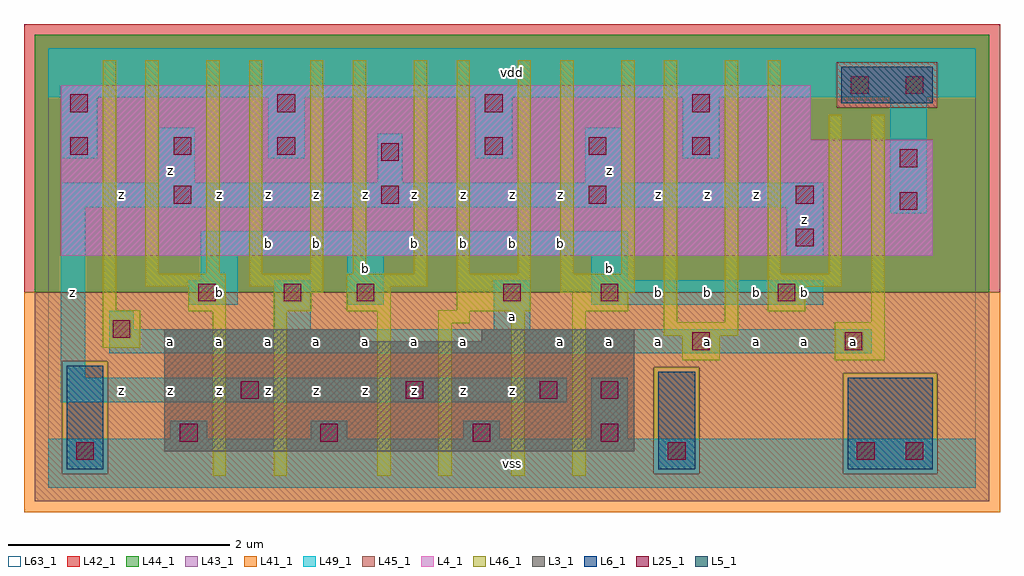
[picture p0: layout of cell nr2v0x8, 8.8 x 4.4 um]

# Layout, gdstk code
import gdstk
lib = gdstk.Library(unit=1e-6, precision=1e-09)
def R(c, l, rs):  # rectangles x0, y0, x1, y1
    for r in rs: c.add(gdstk.rectangle(r[:2], r[2:], *l))
def A(c, l, x, y, w, h, nx, ny, dx, dy):  # array of equal rectangles
    R(c, l, [(x+i*dx, y+j*dy, x+i*dx+w, y+j*dy+h) for i in range(nx) for j in range(ny)])
L3_1 = (3, 1)
L4_1 = (4, 1)
L5_1 = (5, 1)
L6_1 = (6, 1)
L25_1 = (25, 1)
L41_1 = (41, 1)
L42_1 = (42, 1)
L43_1 = (43, 1)
L44_1 = (44, 1)
L45_1 = (45, 1)
L46_1 = (46, 1)
L49_1 = (49, 1)
L63_1 = (63, 1)

nr2v0x8 = lib.new_cell('nr2v0x8')
R(nr2v0x8, L3_1, [(1.045,0.33,5.28,1.32), (1.045,1.32,2.805,1.43), (3.905,1.32,5.28,1.43)])
R(nr2v0x8, L4_1, [(0.11,2.09,7.975,3.135), (0.11,3.135,6.875,3.63)])
R(nr2v0x8, L5_1, [(7.15,3.465,7.975,3.795)])
R(nr2v0x8, L6_1, [(0.165,0.165,0.495,1.1), (5.5,0.165,5.83,1.045), (7.205,0.165,7.975,0.99)])
A(nr2v0x8, L25_1, 1.13, 2.56, 0.16, 0.16, 4, 1, 1.87, 0)
A(nr2v0x8, L25_1, 0.195, 3, 0.16, 0.16, 3, 1, 0.935, 0)
A(nr2v0x8, L25_1, 3.935, 3, 0.16, 0.16, 3, 1, 0.935, 0)
A(nr2v0x8, L25_1, 0.195, 3.385, 0.16, 0.16, 4, 1, 1.87, 0)
R(nr2v0x8, L25_1, [(0.25,0.25,0.41,0.41), (5.585,0.25,5.745,0.41), (7.29,0.25,7.45,0.41), (7.73,0.25,7.89,0.41), (1.185,0.415,1.345,0.575), (2.45,0.415,2.61,0.575), (3.825,0.415,3.985,0.575), (4.98,0.415,5.14,0.575), (1.735,0.8,1.895,0.96), (3.22,0.8,3.38,0.96), (4.43,0.8,4.59,0.96), (4.98,0.8,5.14,0.96), (5.805,1.24,5.965,1.4), (7.18,1.24,7.34,1.4), (0.58,1.35,0.74,1.51), (1.35,1.68,1.51,1.84), (2.12,1.68,2.28,1.84), (2.78,1.68,2.94,1.84), (4.1,1.68,4.26,1.84), (4.98,1.68,5.14,1.84), (6.575,1.68,6.735,1.84), (6.74,2.175,6.9,2.335), (7.675,2.505,7.835,2.665), (7.675,2.89,7.835,3.05), (3,2.945,3.16,3.105), (7.235,3.55,7.395,3.71), (7.73,3.55,7.89,3.71)])
R(nr2v0x8, L41_1, [(-0.22,-0.22,8.58,1.76)])
R(nr2v0x8, L42_1, [(-0.22,1.76,8.58,4.18)])
R(nr2v0x8, L43_1, [(0.165,0.165,0.495,1.1), (5.5,0.165,5.83,1.045), (7.205,0.165,7.975,0.99), (1.045,0.33,5.28,1.32), (1.045,1.32,2.805,1.43), (3.905,1.32,5.28,1.43), (0.11,2.09,7.975,3.135), (0.11,3.135,6.875,3.63), (7.15,3.465,7.975,3.795)])
R(nr2v0x8, L44_1, [(0.125,0.125,0.535,1.14), (5.46,0.125,5.87,1.085), (7.165,0.125,8.015,1.03), (-0.125,1.76,8.485,3.425), (-0.125,3.425,7.11,3.835), (8.015,3.425,8.485,3.835), (-0.125,3.835,8.485,4.085)])
R(nr2v0x8, L45_1, [(-0.125,-0.125,8.485,0.125), (-0.125,0.125,0.125,1.14), (0.535,0.125,5.46,1.085), (5.87,0.125,7.165,1.03), (8.015,0.125,8.485,1.03), (5.87,1.03,8.485,1.085), (0.535,1.085,8.485,1.14), (-0.125,1.14,8.485,1.76), (7.11,3.425,8.015,3.835)])
R(nr2v0x8, L46_1, [(1.48,0.105,1.6,1.59), (2.03,0.105,2.15,1.59), (2.965,0.105,3.085,1.59), (3.515,0.105,3.635,1.48), (4.175,0.105,4.295,1.59), (4.725,0.105,4.845,1.59), (5.715,1.15,6.055,1.37), (7.09,1.15,7.54,1.49), (0.49,1.26,0.83,1.6), (5.55,1.37,6.22,1.49), (3.515,1.48,3.8,1.59), (5.55,1.49,5.67,3.855), (6.1,1.49,6.22,3.855), (7.42,1.49,7.54,3.36), (1.26,1.59,1.6,1.81), (2.03,1.59,2.37,1.755), (2.69,1.59,3.085,1.81), (3.515,1.59,4.35,1.6), (4.725,1.59,5.23,1.755), (6.485,1.59,6.825,1.81), (0.49,1.6,0.61,3.855), (3.68,1.6,4.35,1.93), (2.03,1.755,2.48,1.81), (4.615,1.755,5.285,1.93), (0.875,1.81,1.6,1.93), (1.81,1.81,2.48,1.93), (2.69,1.81,3.415,1.93), (6.485,1.81,7.155,1.93), (0.875,1.93,0.995,3.855), (1.425,1.93,1.545,3.855), (1.81,1.93,1.93,3.855), (2.36,1.93,2.48,3.855), (2.745,1.93,2.865,3.855), (3.295,1.93,3.415,3.855), (3.68,1.93,3.8,3.855), (4.23,1.93,4.35,3.855), (4.615,1.93,4.735,3.855), (5.165,1.93,5.285,3.855), (6.485,1.93,6.605,3.855), (7.035,1.93,7.155,3.36)])
A(nr2v0x8, L49_1, 0.11, 2.97, 0.33, 0.55, 4, 1, 1.87, 0)
R(nr2v0x8, L49_1, [(0,0,8.36,0.44), (1.1,0.44,1.43,0.605), (2.365,0.44,2.695,0.605), (3.74,0.44,4.07,0.605), (4.895,0.44,5.225,0.99), (0.11,0.77,4.675,0.99), (0.11,0.99,0.33,2.53), (0.55,1.21,7.425,1.43), (0.55,1.43,0.77,1.595), (2.035,1.43,2.365,1.87), (4.015,1.43,4.345,1.87), (1.265,1.65,1.705,1.87), (2.695,1.65,3.025,2.09), (4.895,1.65,6.985,1.87), (1.375,1.87,1.705,2.09), (4.895,1.87,5.225,2.09), (1.375,2.09,5.225,2.31), (6.655,2.09,6.985,2.53), (7.59,2.475,7.92,3.52), (0.11,2.53,6.985,2.75), (0.99,2.75,1.32,3.245), (2.97,2.75,3.19,3.19), (4.84,2.75,5.17,3.245), (0,3.52,8.36,3.96)])
R(nr2v0x8, L63_1, [(0,0,8.36,3.96)])
nr2v0x8.add(gdstk.Label('z', (0.66,0.88), layer=49, texttype=1))
nr2v0x8.add(gdstk.Label('z', (1.1,0.88), layer=49, texttype=1))
nr2v0x8.add(gdstk.Label('a', (1.1,1.32), layer=49, texttype=1))
nr2v0x8.add(gdstk.Label('z', (0.22,1.76), layer=49, texttype=1))
nr2v0x8.add(gdstk.Label('z', (0.66,2.64), layer=49, texttype=1))
nr2v0x8.add(gdstk.Label('z', (1.1,2.86), layer=49, texttype=1))
nr2v0x8.add(gdstk.Label('z', (1.54,0.88), layer=49, texttype=1))
nr2v0x8.add(gdstk.Label('z', (1.98,0.88), layer=49, texttype=1))
nr2v0x8.add(gdstk.Label('z', (2.42,0.88), layer=49, texttype=1))
nr2v0x8.add(gdstk.Label('a', (1.54,1.32), layer=49, texttype=1))
nr2v0x8.add(gdstk.Label('a', (1.98,1.32), layer=49, texttype=1))
nr2v0x8.add(gdstk.Label('a', (2.42,1.32), layer=49, texttype=1))
nr2v0x8.add(gdstk.Label('b', (1.54,1.76), layer=49, texttype=1))
nr2v0x8.add(gdstk.Label('b', (1.98,2.2), layer=49, texttype=1))
nr2v0x8.add(gdstk.Label('b', (2.42,2.2), layer=49, texttype=1))
nr2v0x8.add(gdstk.Label('z', (1.54,2.64), layer=49, texttype=1))
nr2v0x8.add(gdstk.Label('z', (1.98,2.64), layer=49, texttype=1))
nr2v0x8.add(gdstk.Label('z', (2.42,2.64), layer=49, texttype=1))
nr2v0x8.add(gdstk.Label('z', (2.86,0.88), layer=49, texttype=1))
nr2v0x8.add(gdstk.Label('z', (3.3,0.88), layer=49, texttype=1))
nr2v0x8.add(gdstk.Label('z', (3.74,0.88), layer=49, texttype=1))
nr2v0x8.add(gdstk.Label('a', (3.3,1.32), layer=49, texttype=1))
nr2v0x8.add(gdstk.Label('a', (3.74,1.32), layer=49, texttype=1))
nr2v0x8.add(gdstk.Label('a', (2.86,1.32), layer=49, texttype=1))
nr2v0x8.add(gdstk.Label('b', (3.3,2.2), layer=49, texttype=1))
nr2v0x8.add(gdstk.Label('b', (3.74,2.2), layer=49, texttype=1))
nr2v0x8.add(gdstk.Label('b', (2.86,1.98), layer=49, texttype=1))
nr2v0x8.add(gdstk.Label('z', (3.3,2.64), layer=49, texttype=1))
nr2v0x8.add(gdstk.Label('z', (3.74,2.64), layer=49, texttype=1))
nr2v0x8.add(gdstk.Label('z', (2.86,2.64), layer=49, texttype=1))
nr2v0x8.add(gdstk.Label('vss', (4.18,0.22), layer=49, texttype=1))
nr2v0x8.add(gdstk.Label('z', (4.18,0.88), layer=49, texttype=1))
nr2v0x8.add(gdstk.Label('a', (4.62,1.32), layer=49, texttype=1))
nr2v0x8.add(gdstk.Label('a', (5.06,1.32), layer=49, texttype=1))
nr2v0x8.add(gdstk.Label('a', (5.5,1.32), layer=49, texttype=1))
nr2v0x8.add(gdstk.Label('a', (4.18,1.54), layer=49, texttype=1))
nr2v0x8.add(gdstk.Label('b', (5.5,1.76), layer=49, texttype=1))
nr2v0x8.add(gdstk.Label('b', (4.62,2.2), layer=49, texttype=1))
nr2v0x8.add(gdstk.Label('b', (5.06,1.98), layer=49, texttype=1))
nr2v0x8.add(gdstk.Label('b', (4.18,2.2), layer=49, texttype=1))
nr2v0x8.add(gdstk.Label('z', (4.62,2.64), layer=49, texttype=1))
nr2v0x8.add(gdstk.Label('z', (5.5,2.64), layer=49, texttype=1))
nr2v0x8.add(gdstk.Label('z', (5.06,2.86), layer=49, texttype=1))
nr2v0x8.add(gdstk.Label('z', (4.18,2.64), layer=49, texttype=1))
nr2v0x8.add(gdstk.Label('vdd', (4.18,3.74), layer=49, texttype=1))
nr2v0x8.add(gdstk.Label('a', (5.94,1.32), layer=49, texttype=1))
nr2v0x8.add(gdstk.Label('a', (6.38,1.32), layer=49, texttype=1))
nr2v0x8.add(gdstk.Label('a', (6.82,1.32), layer=49, texttype=1))
nr2v0x8.add(gdstk.Label('b', (6.82,1.76), layer=49, texttype=1))
nr2v0x8.add(gdstk.Label('b', (5.94,1.76), layer=49, texttype=1))
nr2v0x8.add(gdstk.Label('b', (6.38,1.76), layer=49, texttype=1))
nr2v0x8.add(gdstk.Label('z', (6.82,2.42), layer=49, texttype=1))
nr2v0x8.add(gdstk.Label('z', (5.94,2.64), layer=49, texttype=1))
nr2v0x8.add(gdstk.Label('z', (6.38,2.64), layer=49, texttype=1))
nr2v0x8.add(gdstk.Label('a', (7.26,1.32), layer=49, texttype=1))

lib.write_gds('nr2v0x8.gds')
